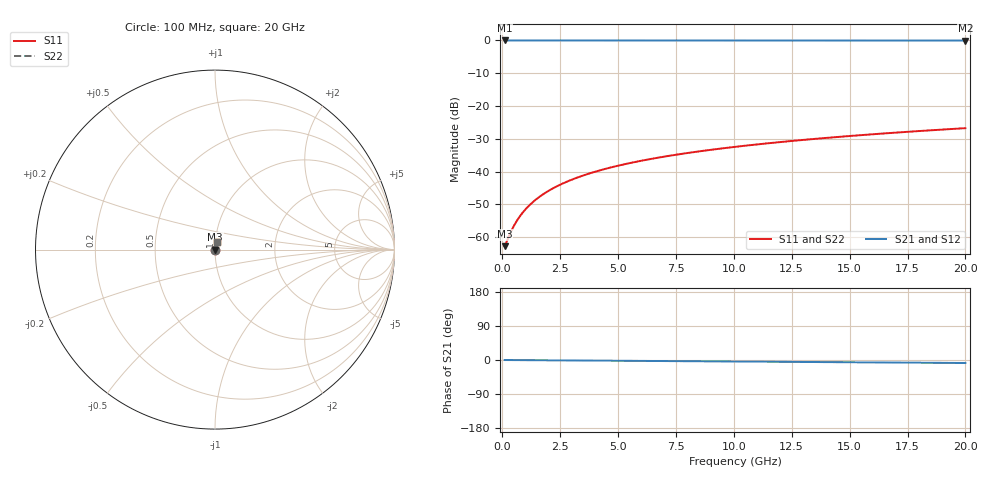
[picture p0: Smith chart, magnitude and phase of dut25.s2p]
! Touchstone file exported from HFSS 2026.1.0
!  File:  C:/ffzhzh/LocalFiles/Ansys_Project_Files/temp_train_TSV_25_1782958286_15332.aedt
!  Generated:  10:13:15 AM Jul  2, 2026
!  Design:  TSV
!  Project:  temp_train_TSV_25_1782958286_15332
! Variables:
!  h_bsmrdl = 2um
!  h_ox = 20um
!  h_rdl = 5um
!  h_sub = 78.16um
!  h_tmrdl = 5um
!  h_tsv = 78.16um
!  h_via = 3um
!  l_bsmrdl = 300um
!  l_sub = 407.44um
!  l_tmrdl = 200um
!  m_sub = 200um
!  pitch = 24.93um
!  r_tsv = 3.72um
!  s_tmrdl = 10um
!  w_bsmrdl = 18um
!  w_sub = 500um
!  w_tmrdl = 12um
!  x_tsv_center1 = 206um
!  x_tsv_center2 = 524um
!  x_tsv_center3 = 736um
!  x_tsv_center4 = 1054um
!  x_tsv_center5 = 1266um
!  x_tsv_center6 = 1584um
# GHz S MA R 50.000000
! Terminal data exported
! Port[1] = TSV1_1_T1
! Port[2] = TSV1_1_T2
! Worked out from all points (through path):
!   200 points, 100 MHz to 20 GHz, reference 50 ohm
!   highest |S21| = -0.01 dB at 100 MHz (marker M1); lowest = 0.0 dB at 20 GHz (marker M2)
!   group delay of S21, straight-line fit = 1.1 ps
!   lowest |S11| = -62.8 dB at 100 MHz (marker M3), VSWR 1.00, Z = 50.1 + j0.027 ohm
!   |S11| at or under -10 dB: start of sweep to end of sweep
!   |S22| runs from -62.8 to -26.8 dB; largest |S21 - S12| = 4.5e-15
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0.1  0.0007274 21.8  0.9993 -0.0  0.9993 -0.0  0.0007274 21.8
! Gamma 0 0 0 0
! Port Impedance 50 0 50 0
0.4  0.001265 55.4  0.9993 -0.2  0.9993 -0.2  0.001265 55.4
0.5  0.001483 60.5  0.9993 -0.2  0.9993 -0.2  0.001483 60.5
0.6  0.001708 64.2  0.9993 -0.2  0.9993 -0.2  0.001708 64.2
0.7  0.001938 67.1  0.9993 -0.3  0.9993 -0.3  0.001938 67.1
0.9  0.002409 71.3  0.9992 -0.4  0.9992 -0.4  0.002409 71.3
1.1  0.002889 74.0  0.9992 -0.5  0.9992 -0.5  0.002889 74.0
1.3  0.003374 75.9  0.9992 -0.5  0.9992 -0.5  0.003374 75.9
1.7  0.004351 78.3  0.9992 -0.7  0.9992 -0.7  0.004351 78.3
2.2  0.005574 80.0  0.9991 -0.9  0.9991 -0.9  0.005574 80.0
2.8  0.007036 81.0  0.999 -1.1  0.999 -1.1  0.007036 81.0
3.5  0.008726 81.6  0.9989 -1.4  0.9989 -1.4  0.008726 81.6
4.2  0.0104 81.8  0.9988 -1.7  0.9988 -1.7  0.0104 81.8
5  0.01228 81.9  0.9986 -2.0  0.9986 -2.0  0.01228 81.9
5.9  0.01438 81.9  0.9985 -2.4  0.9985 -2.4  0.01438 81.9
6.8  0.01645 81.8  0.9983 -2.7  0.9983 -2.7  0.01645 81.8
8.3  0.01986 81.5  0.998 -3.3  0.998 -3.3  0.01986 81.5
10.1  0.02392 81.2  0.9977 -4.0  0.9977 -4.0  0.02392 81.2
11.7  0.0275 80.9  0.9975 -4.7  0.9975 -4.7  0.0275 80.9
13.4  0.03129 80.5  0.9972 -5.3  0.9972 -5.3  0.03129 80.5
16.7  0.03861 79.6  0.9967 -6.6  0.9967 -6.6  0.03861 79.6
20  0.04588 78.6  0.9961 -7.9  0.9961 -7.9  0.04588 78.6
